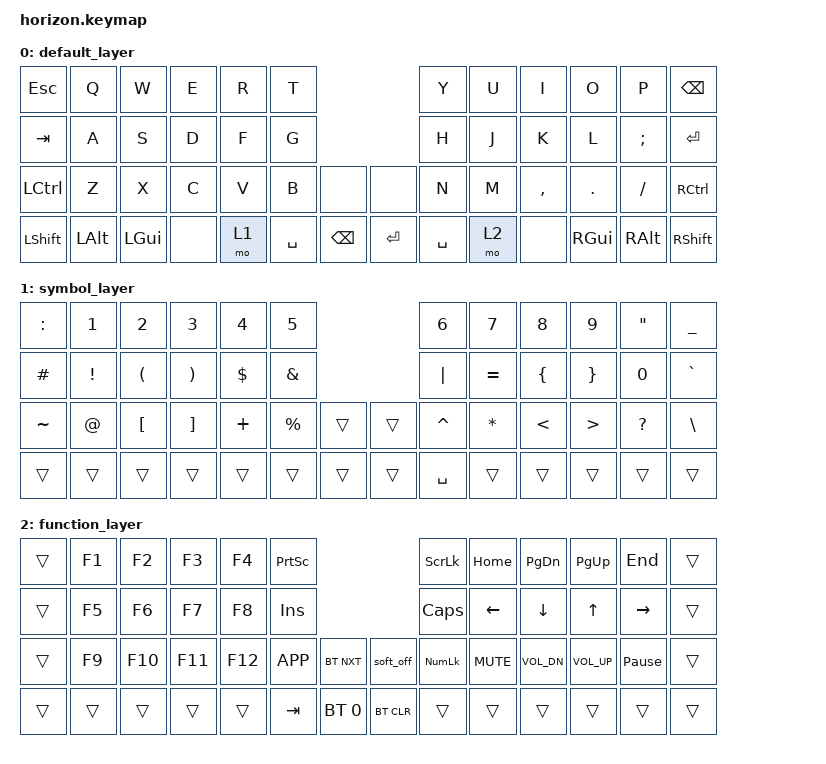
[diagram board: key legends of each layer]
/*
 * Copyright (c) 2021 The ZMK Contributors
 *
 * SPDX-License-Identifier: MIT
 */

#include <behaviors.dtsi>
#include <dt-bindings/zmk/bt.h>
#include <dt-bindings/zmk/keys.h>

#define DEF 0
#define SYM 1
#define FUN 2

&lt {
    tapping-term-ms = <180>;
    flavor = "tap-preferred";
};

/ {
    keymap {
        compatible = "zmk,keymap";

        default_layer {
            bindings = <
&kp ESC         &kp Q         &kp W         &kp E  &kp R  &kp T                                &kp Y      &kp U  &kp I      &kp O          &kp P          &kp BACKSPACE
&kp TAB         &kp A         &kp S         &kp D  &kp F  &kp G                                &kp H      &kp J  &kp K      &kp L          &kp SEMICOLON  &kp RET
&kp LCTRL       &kp Z         &kp X         &kp C  &kp V  &kp B      &none          &none      &kp N      &kp M  &kp COMMA  &kp DOT        &kp SLASH      &kp RCTRL
&kp LEFT_SHIFT  &kp LEFT_ALT  &kp LEFT_GUI  &none  &mo 1  &kp SPACE  &kp BACKSPACE  &kp ENTER  &kp SPACE  &mo 2  &none      &kp RIGHT_GUI  &kp RIGHT_ALT  &kp RIGHT_SHIFT
            >;
        };

        symbol_layer {
            bindings = <
&kp COLON  &kp N1    &kp N2    &kp N3    &kp N4    &kp N5                     &kp N6     &kp N7     &kp N8    &kp N9    &kp DQT    &kp UNDER
&kp HASH   &kp EXCL  &kp LPAR  &kp RPAR  &kp DLLR  &kp AMPS                   &kp PIPE   &kp EQUAL  &kp LBRC  &kp RBRC  &kp N0     &kp GRAVE
&kp TILDE  &kp AT    &kp LBKT  &kp RBKT  &kp PLUS  &kp PRCNT  &trans  &trans  &kp CARET  &kp ASTRK  &kp LT    &kp GT    &kp QMARK  &kp BSLH
&trans     &trans    &trans    &trans    &trans    &trans     &trans  &trans  &kp SPACE  &trans     &trans    &trans    &trans     &trans
            >;
        };

        function_layer {
            bindings = <
&trans  &kp F1  &kp F2   &kp F3   &kp F4   &kp PSCRN                            &kp SLCK    &kp HOME    &kp PG_DN     &kp PG_UP     &kp END          &trans
&trans  &kp F5  &kp F6   &kp F7   &kp F8   &kp INS                              &kp CLCK    &kp LEFT    &kp DOWN      &kp UP        &kp RIGHT        &trans
&trans  &kp F9  &kp F10  &kp F11  &kp F12  &kp K_APP  &bt BT_NXT    &soft_off   &kp KP_NUM  &kp K_MUTE  &kp K_VOL_DN  &kp K_VOL_UP  &kp PAUSE_BREAK  &trans
&trans  &trans  &trans   &trans   &trans   &kp TAB    &bt BT_SEL 0  &bt BT_CLR  &trans      &trans      &trans        &trans        &trans           &trans
            >;
        };
    };
};
